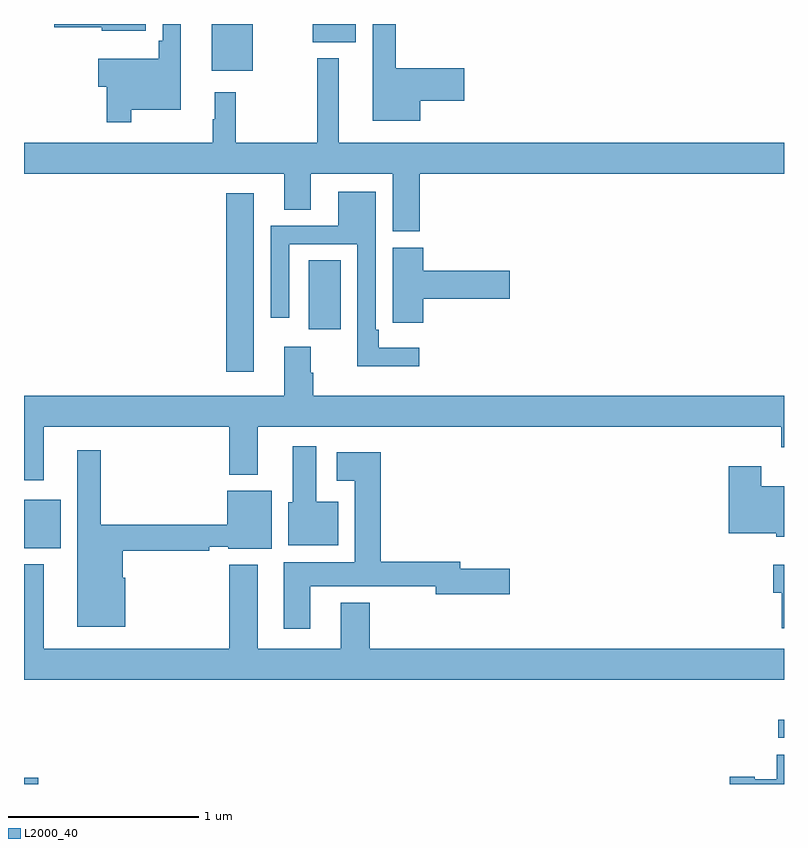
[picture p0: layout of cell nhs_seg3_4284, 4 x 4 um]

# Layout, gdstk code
import gdstk
lib = gdstk.Library(unit=1e-6, precision=1e-09)
def R(c, l, rs):  # rectangles x0, y0, x1, y1
    for r in rs: c.add(gdstk.rectangle(r[:2], r[2:], *l))
def P(c, l, *ps):  # polygons
    for p in ps: c.add(gdstk.Polygon(p, *l))
L2000_40 = (2000, 40)

nhs_seg3_4284 = lib.new_cell('nhs_seg3_4284')
R(nhs_seg3_4284, L2000_40, [(339,668.4,339.076,668.432), (342.969,668.643,343,668.739), (339,669.641,339.193,669.895), (340.064,670.569,340.21,671.509), (340.499,670.794,340.666,671.156), (339.989,672.155,340.204,672.4), (340.52,672.305,340.747,672.4)])
P(nhs_seg3_4284, L2000_40, [(339.565,671.948),(339.826,671.948),(339.826,672.4),(339.729,672.4),(339.729,672.313),(339.709,672.313),(339.709,672.217),(339.392,672.217),(339.392,672.07),(339.436,672.07),(339.436,671.883),(339.565,671.883)],
  [(341.086,671.996),(341.317,671.996),(341.317,672.167),(340.957,672.167),(340.957,672.4),(340.835,672.4),(340.835,671.891),(341.086,671.891)],
  [(339.64,672.4),(339.158,672.4),(339.158,672.383),(339.408,672.383),(339.408,672.365),(339.64,672.365)],
  [(341.084,671.612),(343,671.612),(343,671.776),(340.657,671.776),(340.657,672.22),(340.543,672.22),(340.543,671.776),(340.114,671.776),(340.114,672.04),(340.004,672.04),(340.004,671.9),(339.993,671.9),(339.993,671.776),(339,671.776),(339,671.612),(340.37,671.612),(340.37,671.422),(340.51,671.422),(340.51,671.612),(340.94,671.612),(340.94,671.308),(341.084,671.308)],
  [(341.08,670.696),(340.867,670.696),(340.867,670.792),(340.851,670.792),(340.851,671.518),(340.655,671.518),(340.655,671.337),(340.299,671.337),(340.299,670.854),(340.395,670.854),(340.395,671.241),(340.755,671.241),(340.755,670.598),(341.08,670.598)],
  [(341.102,670.955),(341.557,670.955),(341.557,671.102),(341.102,671.102),(341.102,671.223),(340.94,671.223),(340.94,670.939),(340.941,670.939),(340.941,670.827),(341.102,670.827)],
  [(339.103,670.28),(340.079,670.28),(340.079,670.028),(340.231,670.028),(340.231,670.28),(342.985,670.28),(342.985,670.173),(343,670.173),(343,670.444),(340.523,670.444),(340.523,670.565),(340.51,670.565),(340.51,670.702),(340.37,670.702),(340.37,670.444),(339,670.444),(339,669.999),(339.103,669.999)],
  [(340.654,669.886),(340.537,669.886),(340.537,670.177),(340.415,670.177),(340.415,669.882),(340.391,669.882),(340.391,669.656),(340.654,669.656)],
  [(339.532,669.486),(339.52,669.486),(339.52,669.628),(339.974,669.628),(339.974,669.648),(340.074,669.648),(340.074,669.638),(340.303,669.638),(340.303,669.943),(340.07,669.943),(340.07,669.764),(339.403,669.764),(339.403,670.156),(339.281,670.156),(339.281,669.227),(339.532,669.227)],
  [(340.507,669.44),(340.86,669.44),(340.86,669.441),(341.168,669.441),(341.168,669.398),(341.557,669.398),(341.557,669.533),(341.296,669.533),(341.296,669.569),(340.877,669.569),(340.877,670.147),(340.647,670.147),(340.647,669.995),(340.742,669.995),(340.742,669.568),(340.367,669.568),(340.367,669.216),(340.507,669.216)],
  [(343,669.967),(342.88,669.967),(342.88,670.072),(342.71,670.072),(342.71,669.719),(342.96,669.719),(342.96,669.701),(343,669.701)],
  [(343,669.112),(340.82,669.112),(340.82,669.355),(340.667,669.355),(340.667,669.112),(340.231,669.112),(340.231,669.553),(340.079,669.553),(340.079,669.112),(339.103,669.112),(339.103,669.556),(339,669.556),(339,668.948),(343,668.948)],
  [(343,669.553),(342.944,669.553),(342.944,669.406),(342.988,669.406),(342.988,669.219),(343,669.219)],
  [(343,668.554),(342.962,668.554),(342.962,668.425),(342.846,668.425),(342.846,668.438),(342.714,668.438),(342.714,668.4),(343,668.4)])

lib.write_gds('nhs_seg3_4284.gds')
